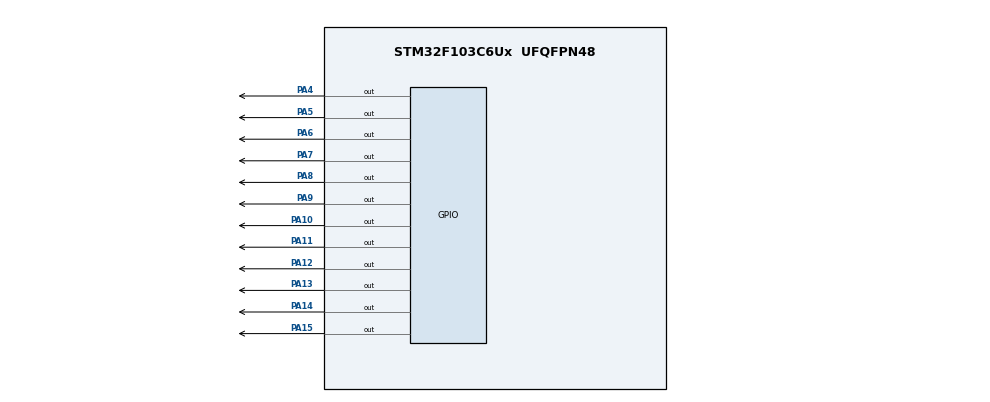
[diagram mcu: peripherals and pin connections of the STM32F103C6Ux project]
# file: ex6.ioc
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Mcu.Family=STM32F1
Mcu.Name=STM32F103C6Ux
Mcu.Package=UFQFPN48
NVIC.PriorityGroup=NVIC_PRIORITYGROUP_4
PA10.Signal=GPIO_Output
PA11.Signal=GPIO_Output
PA12.Signal=GPIO_Output
PA13.Signal=GPIO_Output
PA14.Signal=GPIO_Output
PA15.Signal=GPIO_Output
PA4.Signal=GPIO_Output
PA5.Signal=GPIO_Output
PA6.Signal=GPIO_Output
PA7.Signal=GPIO_Output
PA8.Signal=GPIO_Output
PA9.Signal=GPIO_Output
ProjectManager.HeapSize=0x200
ProjectManager.StackSize=0x400
ProjectManager.TargetToolchain=STM32CubeIDE
RCC.APB1Freq_Value=8000000
RCC.APB2Freq_Value=8000000
VP_SYS_VS_ND.Mode=No_Debug
board=custom

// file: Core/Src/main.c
/* USER CODE BEGIN Header */
/**
  ******************************************************************************
  * @file           : main.c
  * @brief          : Main program body
  ******************************************************************************
  * @attention
  *
  * <h2><center>&copy; Copyright (c) 2026 STMicroelectronics.
  * All rights reserved.</center></h2>
  *
  * This software component is licensed by ST under BSD 3-Clause license,
  * the "License"; You may not use this file except in compliance with the
  * License. You may obtain a copy of the License at:
  *                        opensource.org/licenses/BSD-3-Clause
  *
  ******************************************************************************
  */
/* USER CODE END Header */
#include "main.h"

void SystemClock_Config(void);
static void MX_GPIO_Init(void);
/* USER CODE BEGIN PFP */
void clearAllClock();
void setNumberOnClock(int num);
void clearNumberOnClock(int num);

/* USER CODE END PFP */

int main(void)
{
  /* USER CODE BEGIN 1 */
	int hour = 10;
	int minute = 45;
	int second = 30;

  /* USER CODE END 1 */

  /* MCU Configuration--------------------------------------------------------*/

  /* Reset of all peripherals, Initializes the Flash interface and the Systick. */
  HAL_Init();

  /* Configure the system clock */
  SystemClock_Config();

  /* Initialize all configured peripherals */
  MX_GPIO_Init();
  /* USER CODE BEGIN 2 */

    uint16_t clock_leds[12] = {
        GPIO_PIN_4, GPIO_PIN_5, GPIO_PIN_6, GPIO_PIN_7,
        GPIO_PIN_8, GPIO_PIN_9, GPIO_PIN_10, GPIO_PIN_11,
        GPIO_PIN_12, GPIO_PIN_13, GPIO_PIN_14, GPIO_PIN_15
    };

    for (int i = 0; i < 12; i++) {
        HAL_GPIO_WritePin(GPIOA, clock_leds[i], GPIO_PIN_SET);
    }

  /* USER CODE END 2 */

  /* Infinite loop */
  /* USER CODE BEGIN WHILE */
  int mode = 0; //0 for ex6-7-8-9 and 1 for ex10
  while (1)
  {
	  if (mode == 0) {
		  for (int i = 0; i < 12; i++) {
			  HAL_GPIO_WritePin(GPIOA, clock_leds[i], GPIO_PIN_RESET);
			  HAL_Delay(200);
			  HAL_GPIO_WritePin(GPIOA, clock_leds[i], GPIO_PIN_SET);
		  }
		  clearAllClock();
		  HAL_Delay(2000);

		  setNumberOnClock(1); // 1h
		  HAL_Delay(1000);
		  setNumberOnClock(5); // 5h
		  HAL_Delay(1000);
		  setNumberOnClock(9); // 9h
		  HAL_Delay(1000);

		  clearNumberOnClock(1); // 1h
		  HAL_Delay(1000);
		  clearNumberOnClock(5); // 3h
		  HAL_Delay(1000);
		  clearNumberOnClock(9); //9h
		  HAL_Delay(1000);

		  setNumberOnClock(1);
		  setNumberOnClock(5);
		  setNumberOnClock(9);
		  HAL_Delay(1000);
		  clearAllClock();
		  HAL_Delay(2000);
		  mode = 1; // change into clock mode
	  } else {
		  clearAllClock();

		  setNumberOnClock(hour);
		  setNumberOnClock(minute / 5);
		  setNumberOnClock(second / 5);

		  second++;

		  if (second >= 60) {
			second = 0;
			minute++;
		  }

		  if (minute >= 60) {
			minute = 0;
			hour++;
		  }

		  if (hour >= 12) {
			  hour = 0;
		  }

		  HAL_Delay(30);
	  }
    /* USER CODE END WHILE */

  }
}

void SystemClock_Config(void)
{
  RCC_OscInitTypeDef RCC_OscInitStruct = {0};
  RCC_ClkInitTypeDef RCC_ClkInitStruct = {0};

  /** Initializes the RCC Oscillators according to the specified parameters
  * in the RCC_OscInitTypeDef structure.
  */
  RCC_OscInitStruct.OscillatorType = RCC_OSCILLATORTYPE_HSI;
  RCC_OscInitStruct.HSIState = RCC_HSI_ON;
  RCC_OscInitStruct.HSICalibrationValue = RCC_HSICALIBRATION_DEFAULT;
  RCC_OscInitStruct.PLL.PLLState = RCC_PLL_NONE;
  if (HAL_RCC_OscConfig(&RCC_OscInitStruct) != HAL_OK)
  {
    Error_Handler();
  }
  /** Initializes the CPU, AHB and APB buses clocks
  */
  RCC_ClkInitStruct.ClockType = RCC_CLOCKTYPE_HCLK|RCC_CLOCKTYPE_SYSCLK
                              |RCC_CLOCKTYPE_PCLK1|RCC_CLOCKTYPE_PCLK2;
  RCC_ClkInitStruct.SYSCLKSource = RCC_SYSCLKSOURCE_HSI;
  RCC_ClkInitStruct.AHBCLKDivider = RCC_SYSCLK_DIV1;
  RCC_ClkInitStruct.APB1CLKDivider = RCC_HCLK_DIV1;
  RCC_ClkInitStruct.APB2CLKDivider = RCC_HCLK_DIV1;

  if (HAL_RCC_ClockConfig(&RCC_ClkInitStruct, FLASH_LATENCY_0) != HAL_OK)
  {
    Error_Handler();
  }
}

static void MX_GPIO_Init(void)
{
  GPIO_InitTypeDef GPIO_InitStruct = {0};

  /* GPIO Ports Clock Enable */
  __HAL_RCC_GPIOA_CLK_ENABLE();

  /*Configure GPIO pin Output Level */
  HAL_GPIO_WritePin(GPIOA, GPIO_PIN_4|GPIO_PIN_5|GPIO_PIN_6|GPIO_PIN_7
                          |GPIO_PIN_8|GPIO_PIN_9|GPIO_PIN_10|GPIO_PIN_11
                          |GPIO_PIN_12|GPIO_PIN_13|GPIO_PIN_14|GPIO_PIN_15, GPIO_PIN_RESET);

  /*Configure GPIO pins : PA4 PA5 PA6 PA7
                           PA8 PA9 PA10 PA11
                           PA12 PA13 PA14 PA15 */
  GPIO_InitStruct.Pin = GPIO_PIN_4|GPIO_PIN_5|GPIO_PIN_6|GPIO_PIN_7
                          |GPIO_PIN_8|GPIO_PIN_9|GPIO_PIN_10|GPIO_PIN_11
                          |GPIO_PIN_12|GPIO_PIN_13|GPIO_PIN_14|GPIO_PIN_15;
  GPIO_InitStruct.Mode = GPIO_MODE_OUTPUT_PP;
  GPIO_InitStruct.Pull = GPIO_NOPULL;
  GPIO_InitStruct.Speed = GPIO_SPEED_FREQ_LOW;
  HAL_GPIO_Init(GPIOA, &GPIO_InitStruct);

}

/* USER CODE BEGIN 4 */
void clearAllClock() {
    // Tắt đồng loạt 12 chân từ PA4 đến PA15
    HAL_GPIO_WritePin(GPIOA, GPIO_PIN_4 | GPIO_PIN_5 | GPIO_PIN_6 |
                             GPIO_PIN_7 | GPIO_PIN_8 | GPIO_PIN_9 |
                             GPIO_PIN_10 | GPIO_PIN_11 | GPIO_PIN_12 |
                             GPIO_PIN_13 | GPIO_PIN_14 | GPIO_PIN_15, GPIO_PIN_SET);
}

void setNumberOnClock(int num) {
    uint16_t target_pin;

    switch(num) {
    	case 0:  target_pin = GPIO_PIN_15; break;
        case 1:  target_pin = GPIO_PIN_4;  break;
        case 2:  target_pin = GPIO_PIN_5;  break;
        case 3:  target_pin = GPIO_PIN_6;  break;
        case 4:  target_pin = GPIO_PIN_7;  break;
        case 5:  target_pin = GPIO_PIN_8;  break;
        case 6:  target_pin = GPIO_PIN_9;  break;
        case 7:  target_pin = GPIO_PIN_10; break;
        case 8:  target_pin = GPIO_PIN_11; break;
        case 9:  target_pin = GPIO_PIN_12; break;
        case 10: target_pin = GPIO_PIN_13; break;
        case 11: target_pin = GPIO_PIN_14; break;
        default: return;
    }

    HAL_GPIO_WritePin(GPIOA, target_pin, GPIO_PIN_RESET);
}

void clearNumberOnClock(int num) {
    uint16_t target_pin;

    switch(num) {
    	case 0:  target_pin = GPIO_PIN_15; break;
        case 1:  target_pin = GPIO_PIN_4;  break;
        case 2:  target_pin = GPIO_PIN_5;  break;
        case 3:  target_pin = GPIO_PIN_6;  break;
        case 4:  target_pin = GPIO_PIN_7;  break;
        case 5:  target_pin = GPIO_PIN_8;  break;
        case 6:  target_pin = GPIO_PIN_9;  break;
        case 7:  target_pin = GPIO_PIN_10; break;
        case 8:  target_pin = GPIO_PIN_11; break;
        case 9:  target_pin = GPIO_PIN_12; break;
        case 10: target_pin = GPIO_PIN_13; break;
        case 11: target_pin = GPIO_PIN_14; break;
        default: return;
    }

    HAL_GPIO_WritePin(GPIOA, target_pin, GPIO_PIN_SET);
}

/* USER CODE END 4 */

void Error_Handler(void)
{
  __disable_irq();
  while (1)
  {
  }
}

/************************ (C) COPYRIGHT STMicroelectronics *****END OF FILE****/
